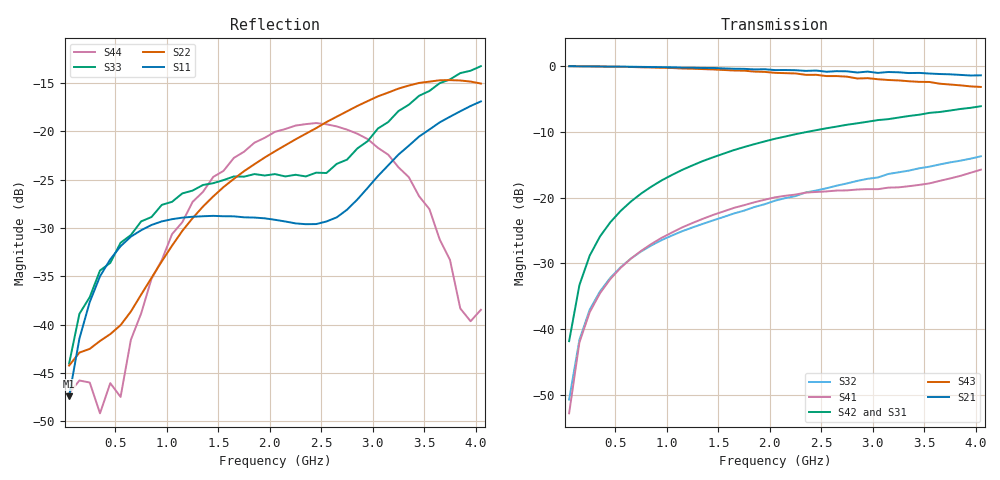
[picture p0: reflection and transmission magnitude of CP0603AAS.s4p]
! Network Analyzer HP8720D.07.14 Serial No. US38111185
! 28 Apr 1999  02:06:29
! Frequency 	S11		S21		S31		S41		S12		S22		S23		S24		S13		S23		S33		S34		S14		S24		S34		S44
# HZ  S  DB R 50
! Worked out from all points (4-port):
!   41 points, 50 MHz to 4.05 GHz, reference 50 ohm
!   strongest paths, dB at 50 MHz, 1.05 GHz, 2.05 GHz, 3.05 GHz, 4.05 GHz:
!     S21: 0.0, -0.2, -0.6, -1.0, -1.4
!     S43: 0.0, -0.3, -1.0, -2.0, -3.2
!     S42: -41.8, -16.5, -11.0, -8.2, -6.1
!     S31: -42.1, -16.5, -11.1, -8.3, -6.2
!     S41: -52.8, -25.3, -19.9, -18.7, -15.7
!     S32: -50.7, -25.7, -20.5, -16.9, -13.7
!   lowest |S11| = -47.4 dB at 50 MHz (marker M1), VSWR 1.01, Z = 50.4 - j0.228 ohm
!   |S11| at or under -10 dB: start of sweep to end of sweep
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5e7  -47.43 -32.1  -0.02 -1.1  -42.34 86.2  -49.90 95.0
     -0.01 -1.0  -44.24 18.1  -51.24 77.9  -43.88 94.3
     -42.13 92.0  -50.70 96.7  -44.03 17.3  -0.02 -1.3
     -52.79 91.8  -41.82 88.5  -0.00 -1.1  -47.10 -1.4
2.5e8  -37.67 -78.9  -0.03 -4.7  -28.75 84.2  -37.42 85.4
       -0.04 -4.9  -42.52 7.9  -37.17 83.8  -28.80 84.5
       -28.77 84.1  -37.03 83.8  -37.16 51.0  -0.03 -5.7
       -37.41 84.5  -28.81 84.3  -0.03 -5.8  -46.00 -31.1
5.5e8  -31.88 -103.9  -0.08 -10.3  -21.96 78.0  -30.70 78.5
       -0.07 -10.5  -40.06 17.8  -30.60 75.6  -22.03 78.3
       -21.98 77.8  -30.57 75.7  -31.52 63.1  -0.10 -12.5
       -30.67 78.4  -22.02 78.2  -0.10 -12.6  -47.49 -119.5
1.25e9  -28.83 -142.6  -0.22 -23.3  -15.05 63.5  -23.80 65.6
        -0.23 -23.7  -28.97 24.0  -24.50 63.7  -15.09 64.1
        -15.09 63.3  -24.52 63.9  -26.12 71.8  -0.40 -27.8
        -23.84 65.4  -15.08 64.1  -0.39 -28.2  -27.29 169.8
2.25e9  -29.52 157.2  -0.58 -41.7  -10.36 42.6  -19.38 44.1
        -0.61 -42.5  -20.82 -10.6  -19.65 51.7  -10.53 44.8
        -10.53 43.0  -19.75 52.8  -24.49 46.0  -1.08 -48.9
        -19.52 44.6  -10.34 43.6  -1.11 -49.6  -19.39 143.8
3.15e9  -23.51 51.6  -0.89 -59.0  -8.02 24.6  -18.43 32.4
        -0.89 -57.2  -15.97 -31.4  -16.37 37.2  -8.27 28.2
        -7.99 26.6  -16.40 39.4  -19.02 -39.6  -1.88 -66.5
        -18.47 34.0  -8.06 26.5  -2.10 -66.3  -22.41 111.0
4.05e9  -16.89 20.8  -2.20 -76.3  -6.51 4.4  -15.77 27.3
        -1.39 -73.5  -15.04 -55.5  -13.76 15.1  -6.45 13.3
        -6.20 11.5  -13.70 21.7  -13.24 -88.8  -3.07 -88.7
        -15.74 33.0  -6.09 12.3  -3.16 -82.1  -38.47 -58.1
